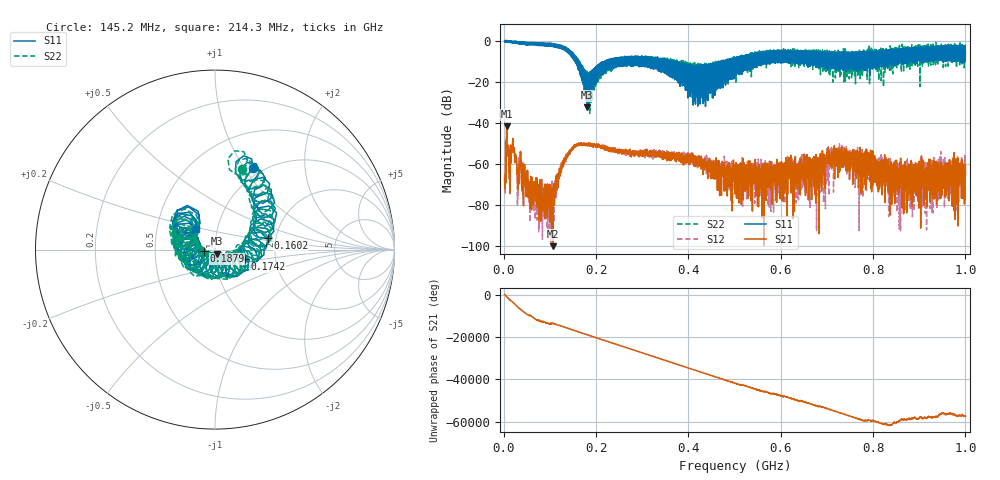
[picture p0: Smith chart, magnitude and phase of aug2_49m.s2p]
!Keysight Technologies N9923A: A.12.45
!Date: Saturday, 02 August 2025 20:03:51
!Timezone: (UTC+08:00) Kuala Lumpur, Singapore
!Model: N9923A
!Serial: MY61181427
!GPS Latitude:
!GPS Longitude:
!GPS TimeStamp: 0001-01-01 00:00:00Z
!GPS Seconds Since Last Read: 0
!CHECKSUM:0293908248
!Correction: S11(ON U)S21(ON U)S12(ON U)S22(ON U)
!S2P File: Measurements:S11,S21,S12,S22:
# Hz S DB R 50
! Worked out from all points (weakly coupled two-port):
!   4001 points, 2 MHz to 1 GHz, reference 50 ohm
!   highest |S21| = -41.69 dB at 6.491 MHz (marker M1); lowest = -100.2 dB at 106.3 MHz (marker M2)
!   lowest |S11| = -32.5 dB at 181.1 MHz (marker M3), VSWR 1.05, Z = 50.9 - j2.23 ohm
!   |S11| at or under -10 dB: 162.3 MHz to 218.5 MHz (56.13 MHz wide, 29.5 % of centre); 366.1906 MHz to 367.7238 MHz (1.533 MHz wide, 0.418 % of centre); 369.5 MHz to 471.3 MHz (101.8 MHz wide, 24.2 % of centre) (the widest 3 of 360)
!   |S22| runs from -35.4 to 0.2 dB; largest |S21 - S12| = 0.0027
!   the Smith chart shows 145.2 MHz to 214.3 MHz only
!   S11 on the Smith chart (normalised r, x): 145.2 MHz: 0.90, +1.10; 160.2 MHz: 1.81, +0.25; 174.2 MHz: 1.38, -0.15; 187.9 MHz: 0.88, -0.01; 214.3 MHz: 0.79, +0.18
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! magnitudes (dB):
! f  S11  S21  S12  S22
! 2 MHz  -0.1  -68.5  -66.7  -0.1
! 6.491 MHz  0.0  -41.7  -41.5  0.0
! 19.71 MHz  -0.6  -48.0  -47.7  -0.5
! 29.45 MHz  -1.2  -63.8  -68.9  -1.2
! 58.14 MHz  -1.5  -70.1  -69.7  -1.7
! 106.3 MHz  -2.8  -100.2  -75.8  -2.5
! 145.2 MHz  -6.0  -53.6  -53.7  -6.5
! 160.2 MHz  -10.4  -50.5  -50.4  -11.2
! 168.4 MHz  -14.9  -50.0  -50.5  -16.1
! 174.2 MHz  -15.2  -50.7  -50.6  -13.9
! 181.1 MHz  -32.5  -50.4  -50.3  -19.3
! 187.9 MHz  -24.2  -51.0  -51.2  -25.1
! 214.3 MHz  -16.3  -52.0  -51.9  -13.4
! 334.8 MHz  -12.4  -54.8  -55.4  -8.6
! 415.4 MHz  -30.9  -56.8  -57.1  -12.6
! 501 MHz  -11.5  -63.5  -64.1  -12.1
! 553.6 MHz  -6.3  -75.5  -62.9  -7.8
! 667.4 MHz  -5.6  -58.4  -60.1  -9.5
! 733.8 MHz  -10.1  -54.4  -58.1  -9.5
! 833.8 MHz  -5.2  -62.1  -85.7  -5.0
! 859 MHz  -4.7  -64.2  -64.9  -5.4
! 1 GHz  -5.0  -65.7  -61.5  -1.8
